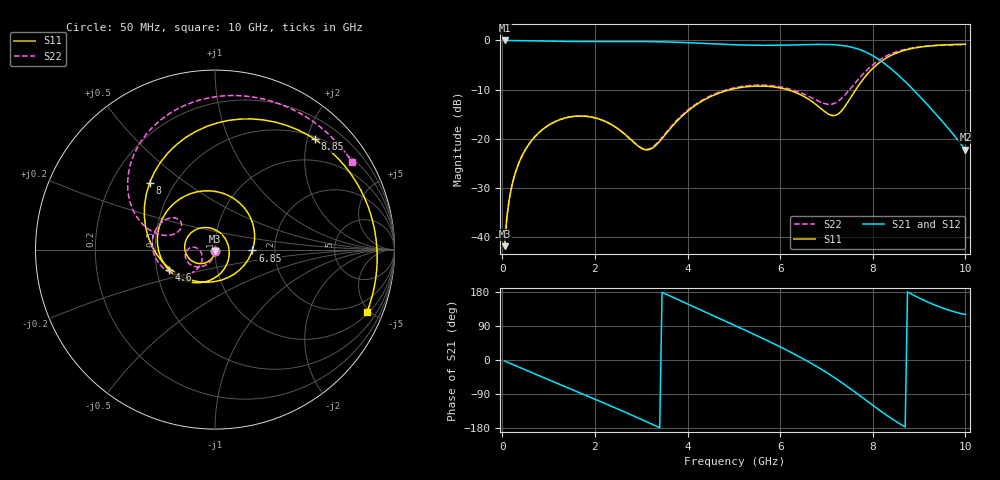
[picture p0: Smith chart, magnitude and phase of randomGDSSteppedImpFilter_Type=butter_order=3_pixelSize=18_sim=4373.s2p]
! freq	dB(S11)	phase(S11)	dB(S12)	phase(S12)
!  dB(S21)	phase(S21)	dB(S22)	phase(S22)
!S-par simulation data
#  GHz  S  DB  R 50
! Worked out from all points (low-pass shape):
!   200 points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, 50 MHz to 10 GHz, reference 50 ohm
!   highest |S21| = 0.00 dB at 50 MHz (marker M1); lowest = -22.2 dB at 10 GHz (marker M2)
!   |S21| within 3 dB of the highest: start of sweep to 7.981 GHz
!   lowest |S11| = -41.8 dB at 50 MHz (marker M3), VSWR 1.02, Z = 50 - j0.807 ohm
!   |S11| at or under -10 dB: start of sweep to 4.926 GHz; 6.151 GHz to 7.634 GHz (1.483 GHz wide, 21.5 % of centre)
!   |S22| runs from -41.8 to -0.9 dB; largest |S21 - S12| = 0
!   S11 on the Smith chart (normalised r, x): 50 MHz: 1.00, -0.02; 4.6 GHz: 0.58, -0.14; 6.85 GHz: 1.53, -0.02; 8 GHz: 0.36, +0.37; 8.85 GHz: 0.54, +2.14; 10 GHz: 1.11, -4.80
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0.05  -41.84 -92.6  -0.00 -2.7  -0.00 -2.7  -41.84 -91.9
0.1  -35.83 -95.8  -0.01 -5.3  -0.01 -5.3  -35.83 -94.4
0.2  -29.85 -101.9  -0.02 -10.5  -0.02 -10.5  -29.85 -99.2
0.5  -22.20 -120.1  -0.06 -26.2  -0.06 -26.2  -22.19 -113.3
1.15  -16.47 -159.1  -0.17 -59.8  -0.17 -59.8  -16.46 -142.0
1.75  -15.38 163.3  -0.23 -90.6  -0.23 -90.6  -15.38 -166.0
2.5  -17.98 105.7  -0.22 -129.7  -0.22 -129.7  -18.00 173.8
3.05  -22.13 28.9  -0.22 -159.3  -0.22 -159.3  -22.05 -167.7
3.4  -20.49 -38.8  -0.27 -178.6  -0.27 -178.6  -20.27 -139.1
3.95  -14.80 -104.1  -0.43 150.7  -0.43 150.7  -14.60 -135.5
4.6  -11.00 -156.6  -0.71 114.5  -0.71 114.5  -10.81 -155.1
5.05  -9.74 170.0  -0.89 89.5  -0.89 89.5  -9.55 -171.5
5.95  -9.58 99.5  -0.97 37.7  -0.97 37.7  -9.35 156.3
6.7  -12.51 21.3  -0.81 -10.8  -0.81 -10.8  -11.75 140.3
6.85  -13.62 -1.4  -0.80 -21.6  -0.80 -21.6  -12.44 141.9
7.2  -15.22 -77.0  -0.89 -48.7  -0.89 -48.7  -12.67 156.0
7.45  -12.71 -137.4  -1.19 -69.9  -1.19 -69.9  -10.56 164.4
8  -5.68 134.5  -3.10 -119.6  -3.10 -119.6  -4.96 148.3
8.35  -3.25 93.9  -5.42 -150.0  -5.42 -150.0  -2.90 126.9
8.85  -1.63 47.9  -9.78 173.1  -9.78 173.1  -1.53 95.5
9.4  -0.98 9.7  -15.37 142.1  -15.37 142.1  -1.01 63.8
10  -0.77 -22.4  -22.19 120.1  -22.19 120.1  -0.86 32.5
